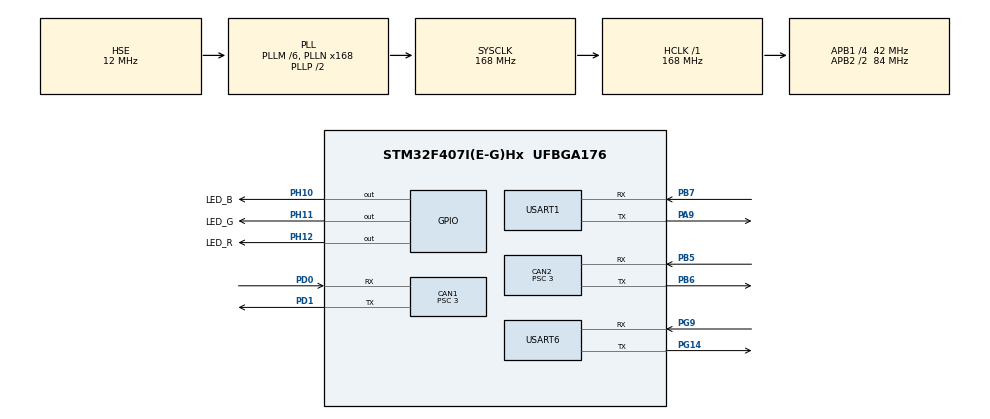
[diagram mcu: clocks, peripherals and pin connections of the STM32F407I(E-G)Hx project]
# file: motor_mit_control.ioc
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CAN1.BS1=CAN_BS1_10TQ
CAN1.BS2=CAN_BS2_3TQ
CAN1.CalculateBaudRate=1000000
CAN1.CalculateTimeBit=1000
CAN1.CalculateTimeQuantum=71.42857142857143
CAN1.Prescaler=3
CAN2.BS1=CAN_BS1_10TQ
CAN2.BS2=CAN_BS2_3TQ
CAN2.CalculateBaudRate=1000000
CAN2.CalculateTimeBit=1000
CAN2.CalculateTimeQuantum=71.42857142857143
CAN2.Prescaler=3
Dma.Request0=USART1_TX
Dma.Request1=USART6_RX
Dma.Request2=USART6_TX
Dma.USART1_TX.0.Direction=DMA_MEMORY_TO_PERIPH
Dma.USART1_TX.0.FIFOMode=DMA_FIFOMODE_DISABLE
Dma.USART1_TX.0.Instance=DMA2_Stream7
Dma.USART1_TX.0.MemDataAlignment=DMA_MDATAALIGN_BYTE
Dma.USART1_TX.0.MemInc=DMA_MINC_ENABLE
Dma.USART1_TX.0.Mode=DMA_NORMAL
Dma.USART1_TX.0.PeriphDataAlignment=DMA_PDATAALIGN_BYTE
Dma.USART1_TX.0.PeriphInc=DMA_PINC_DISABLE
Dma.USART1_TX.0.Priority=DMA_PRIORITY_MEDIUM
Dma.USART6_RX.1.Direction=DMA_PERIPH_TO_MEMORY
Dma.USART6_RX.1.FIFOMode=DMA_FIFOMODE_DISABLE
Dma.USART6_RX.1.Instance=DMA2_Stream1
Dma.USART6_RX.1.MemDataAlignment=DMA_MDATAALIGN_BYTE
Dma.USART6_RX.1.MemInc=DMA_MINC_ENABLE
Dma.USART6_RX.1.Mode=DMA_CIRCULAR
Dma.USART6_RX.1.PeriphDataAlignment=DMA_PDATAALIGN_BYTE
Dma.USART6_RX.1.PeriphInc=DMA_PINC_DISABLE
Dma.USART6_RX.1.Priority=DMA_PRIORITY_MEDIUM
Dma.USART6_TX.2.Direction=DMA_MEMORY_TO_PERIPH
Dma.USART6_TX.2.FIFOMode=DMA_FIFOMODE_DISABLE
Dma.USART6_TX.2.Instance=DMA2_Stream6
Dma.USART6_TX.2.MemDataAlignment=DMA_MDATAALIGN_BYTE
Dma.USART6_TX.2.MemInc=DMA_MINC_ENABLE
Dma.USART6_TX.2.Mode=DMA_CIRCULAR
Dma.USART6_TX.2.PeriphDataAlignment=DMA_PDATAALIGN_BYTE
Dma.USART6_TX.2.PeriphInc=DMA_PINC_DISABLE
Dma.USART6_TX.2.Priority=DMA_PRIORITY_MEDIUM
FREERTOS.Tasks01=defaultTask,0,128,StartDefaultTask,Default,NULL,Dynamic,NULL,NULL;led,-3,128,LED_TASK,As weak,NULL,Dynamic,NULL,NULL;debug_print,-3,128,DEBUG_PRINT_TASK,As weak,NULL,Dynamic,NULL,NULL;motor,-3,128,MOTOR_CONTROL_TASK,As weak,NULL,Dynamic,NULL,NULL
FREERTOS.configUSE_NEWLIB_REENTRANT=1
Mcu.Family=STM32F4
Mcu.Name=STM32F407I(E-G)Hx
Mcu.Package=UFBGA176
NVIC.CAN1_RX0_IRQn=true\:5\:0\:false\:false\:true\:true\:true\:true\:true
NVIC.CAN2_RX0_IRQn=true\:5\:0\:false\:false\:true\:true\:true\:true\:true
NVIC.DMA2_Stream1_IRQn=true\:5\:0\:false\:false\:true\:true\:false\:true\:true
NVIC.DMA2_Stream6_IRQn=true\:5\:0\:false\:false\:true\:true\:false\:true\:true
NVIC.DMA2_Stream7_IRQn=true\:5\:0\:false\:false\:true\:true\:false\:true\:true
NVIC.PriorityGroup=NVIC_PRIORITYGROUP_4
NVIC.TIM7_IRQn=true\:15\:0\:false\:false\:true\:false\:false\:true\:true
NVIC.TimeBase=TIM7_IRQn
NVIC.TimeBaseIP=TIM7
NVIC.USART1_IRQn=true\:5\:0\:false\:false\:true\:true\:true\:true\:true
NVIC.USART6_IRQn=true\:5\:0\:false\:false\:true\:true\:true\:true\:true
PA13.Mode=Serial_Wire
PA13.Signal=SYS_JTMS-SWDIO
PA14.Mode=Serial_Wire
PA14.Signal=SYS_JTCK-SWCLK
PA9.Mode=Asynchronous
PA9.Signal=USART1_TX
PB5.Mode=CAN_Activate
PB5.Signal=CAN2_RX
PB6.Mode=CAN_Activate
PB6.Signal=CAN2_TX
PB7.Mode=Asynchronous
PB7.Signal=USART1_RX
PD0.Mode=CAN_Activate
PD0.Signal=CAN1_RX
PD1.Mode=CAN_Activate
PD1.Signal=CAN1_TX
PG14.Mode=Asynchronous
PG14.Signal=USART6_TX
PG9.Mode=Asynchronous
PG9.Signal=USART6_RX
PH0-OSC_IN.Mode=HSE-External-Oscillator
PH0-OSC_IN.Signal=RCC_OSC_IN
PH1-OSC_OUT.Mode=HSE-External-Oscillator
PH1-OSC_OUT.Signal=RCC_OSC_OUT
PH10.GPIO_Label=LED_B
PH10.Signal=GPIO_Output
PH11.GPIO_Label=LED_G
PH11.Signal=GPIO_Output
PH12.GPIO_Label=LED_R
PH12.Signal=GPIO_Output
ProjectManager.HeapSize=0x200
ProjectManager.StackSize=0x400
ProjectManager.TargetToolchain=STM32CubeIDE
RCC.48MHZClocksFreq_Value=84000000
RCC.AHBFreq_Value=168000000
RCC.APB1CLKDivider=RCC_HCLK_DIV4
RCC.APB1Freq_Value=42000000
RCC.APB1TimFreq_Value=84000000
RCC.APB2CLKDivider=RCC_HCLK_DIV2
RCC.APB2Freq_Value=84000000
RCC.APB2TimFreq_Value=168000000
RCC.CortexFreq_Value=168000000
RCC.HCLKFreq_Value=168000000
RCC.HSE_VALUE=12000000
RCC.HSI_VALUE=16000000
RCC.LSE_VALUE=32768
RCC.PLLM=6
RCC.PLLN=168
RCC.PLLSourceVirtual=RCC_PLLSOURCE_HSE
RCC.SYSCLKFreq_VALUE=168000000
RCC.SYSCLKSource=RCC_SYSCLKSOURCE_PLLCLK
RCC.VCOOutputFreq_Value=336000000
USART1.VirtualMode=VM_ASYNC
USART6.VirtualMode=VM_ASYNC
VP_FREERTOS_VS_CMSIS_V1.Mode=CMSIS_V1
VP_SYS_VS_tim7.Mode=TIM7
board=custom

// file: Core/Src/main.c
/* USER CODE BEGIN Header */
/**
  ******************************************************************************
  * @file           : main.c
  * @brief          : Main program body
  ******************************************************************************
  * @attention
  *
  * Copyright (c) 2025 STMicroelectronics.
  * All rights reserved.
  *
  * This software is licensed under terms that can be found in the LICENSE file
  * in the root directory of this software component.
  * If no LICENSE file comes with this software, it is provided AS-IS.
  *
  ******************************************************************************
  */
/* USER CODE END Header */
#include <string.h>
#include "main.h"
#include "cmsis_os.h"
#include "can.h"
#include "dma.h"
#include "usart.h"
#include "gpio.h"

/* USER CODE BEGIN Includes */
#include "LED_TASK.h"
#include "DEBUG_PRINT_TASK.h"
#include "CAN_receive.h"
#include "stdbool.h"
#include "can_comm.h"
/* USER CODE END Includes */

void SystemClock_Config(void);
void MX_FREERTOS_Init(void);

int main(void)
{

  /* MCU Configuration--------------------------------------------------------*/

  /* Reset of all peripherals, Initializes the Flash interface and the Systick. */
  HAL_Init();

  /* Configure the system clock */
  SystemClock_Config();

  /* Initialize all configured peripherals */
  MX_GPIO_Init();
  MX_DMA_Init();
  MX_USART1_UART_Init();
  MX_CAN1_Init();
  MX_CAN2_Init();
  MX_USART6_UART_Init();
  /* USER CODE BEGIN 2 */
    memset(xiaomimotors, 0, sizeof(xiaomimotors));//清零
    xiaomimotors[0].can_id = 0x01 ;
    xiaomimotors[0].master_id = 0x11 ;
    xiaomimotors[1].can_id = 0x02 ;
    xiaomimotors[1].master_id = 0x12 ;
    xiaomimotors[2].can_id = 0x03 ;
    xiaomimotors[2].master_id = 0x13 ;
    xiaomimotors[3].can_id = 0x04 ;
    xiaomimotors[3].master_id = 0x14 ;
    xiaomimotors[4].can_id = 0x01 ;
    xiaomimotors[4].master_id = 0x11 ;
    xiaomimotors[5].can_id = 0x02 ;
    xiaomimotors[5].master_id = 0x12 ;
    xiaomimotors[6].can_id = 0x03 ;
    xiaomimotors[6].master_id = 0x13 ;
    xiaomimotors[7].can_id = 0x04 ;
    xiaomimotors[7].master_id = 0x14 ;

    xiaomimotors[0].can_channel = 0x01 ;
    xiaomimotors[1].can_channel = 0x01 ;
    xiaomimotors[2].can_channel = 0x01 ;
    xiaomimotors[3].can_channel = 0x01 ;
    xiaomimotors[4].can_channel = 0x02 ;
    xiaomimotors[5].can_channel = 0x02 ;
    xiaomimotors[6].can_channel = 0x02 ;
    xiaomimotors[7].can_channel = 0x02 ;

    xiaomimotors[0].alpha_speed = 0.1f ;
    xiaomimotors[1].alpha_speed = 0.1f ;
    xiaomimotors[2].alpha_speed = 0.1f ;
    xiaomimotors[3].alpha_speed = 0.1f ;
    xiaomimotors[4].alpha_speed = 0.1f ;
    xiaomimotors[5].alpha_speed = 0.1f ;
    xiaomimotors[6].alpha_speed = 0.1f ;
    xiaomimotors[7].alpha_speed = 0.1f ;

    CanComm_Init();

  /* USER CODE END 2 */

  /* Call init function for freertos objects (in cmsis_os2.c) */
  MX_FREERTOS_Init();

  /* Start scheduler */
  osKernelStart();

  /* We should never get here as control is now taken by the scheduler */

  /* Infinite loop */
  while (1)
  {

  }
}

void SystemClock_Config(void)
{
  RCC_OscInitTypeDef RCC_OscInitStruct = {0};
  RCC_ClkInitTypeDef RCC_ClkInitStruct = {0};

  /** Configure the main internal regulator output voltage
  */
  __HAL_RCC_PWR_CLK_ENABLE();
  __HAL_PWR_VOLTAGESCALING_CONFIG(PWR_REGULATOR_VOLTAGE_SCALE1);

  /** Initializes the RCC Oscillators according to the specified parameters
  * in the RCC_OscInitTypeDef structure.
  */
  RCC_OscInitStruct.OscillatorType = RCC_OSCILLATORTYPE_HSE;
  RCC_OscInitStruct.HSEState = RCC_HSE_ON;
  RCC_OscInitStruct.PLL.PLLState = RCC_PLL_ON;
  RCC_OscInitStruct.PLL.PLLSource = RCC_PLLSOURCE_HSE;
  RCC_OscInitStruct.PLL.PLLM = 6;
  RCC_OscInitStruct.PLL.PLLN = 168;
  RCC_OscInitStruct.PLL.PLLP = RCC_PLLP_DIV2;
  RCC_OscInitStruct.PLL.PLLQ = 4;
  if (HAL_RCC_OscConfig(&RCC_OscInitStruct) != HAL_OK)
  {
    Error_Handler();
  }

  /** Initializes the CPU, AHB and APB buses clocks
  */
  RCC_ClkInitStruct.ClockType = RCC_CLOCKTYPE_HCLK|RCC_CLOCKTYPE_SYSCLK
                              |RCC_CLOCKTYPE_PCLK1|RCC_CLOCKTYPE_PCLK2;
  RCC_ClkInitStruct.SYSCLKSource = RCC_SYSCLKSOURCE_PLLCLK;
  RCC_ClkInitStruct.AHBCLKDivider = RCC_SYSCLK_DIV1;
  RCC_ClkInitStruct.APB1CLKDivider = RCC_HCLK_DIV4;
  RCC_ClkInitStruct.APB2CLKDivider = RCC_HCLK_DIV2;

  if (HAL_RCC_ClockConfig(&RCC_ClkInitStruct, FLASH_LATENCY_5) != HAL_OK)
  {
    Error_Handler();
  }
}

void HAL_TIM_PeriodElapsedCallback(TIM_HandleTypeDef *htim)
{
  if (htim->Instance == TIM7) {
    HAL_IncTick();
  }
}

void Error_Handler(void)
{
  __disable_irq();
  while (1)
  {
  }
}

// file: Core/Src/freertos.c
/* USER CODE BEGIN Header */
/**
  ******************************************************************************
  * File Name          : freertos.c
  * Description        : Code for freertos applications
  ******************************************************************************
  * @attention
  *
  * Copyright (c) 2025 STMicroelectronics.
  * All rights reserved.
  *
  * This software is licensed under terms that can be found in the LICENSE file
  * in the root directory of this software component.
  * If no LICENSE file comes with this software, it is provided AS-IS.
  *
  ******************************************************************************
  */
/* USER CODE END Header */

#include "FreeRTOS.h"
#include "task.h"
#include "main.h"
#include "cmsis_os.h"

osThreadId defaultTaskHandle;
osThreadId ledHandle;
osThreadId debug_printHandle;
osThreadId motorHandle;

void StartDefaultTask(void const * argument);
void LED_TASK(void const * argument);
void DEBUG_PRINT_TASK(void const * argument);
void MOTOR_CONTROL_TASK(void const * argument);

void MX_FREERTOS_Init(void); /* (MISRA C 2004 rule 8.1) */

/* GetIdleTaskMemory prototype (linked to static allocation support) */
void vApplicationGetIdleTaskMemory( StaticTask_t **ppxIdleTaskTCBBuffer, StackType_t **ppxIdleTaskStackBuffer, uint32_t *pulIdleTaskStackSize );

/* USER CODE BEGIN GET_IDLE_TASK_MEMORY */
static StaticTask_t xIdleTaskTCBBuffer;
static StackType_t xIdleStack[configMINIMAL_STACK_SIZE];

void vApplicationGetIdleTaskMemory( StaticTask_t **ppxIdleTaskTCBBuffer, StackType_t **ppxIdleTaskStackBuffer, uint32_t *pulIdleTaskStackSize )
{
  *ppxIdleTaskTCBBuffer = &xIdleTaskTCBBuffer;
  *ppxIdleTaskStackBuffer = &xIdleStack[0];
  *pulIdleTaskStackSize = configMINIMAL_STACK_SIZE;
  /* place for user code */
}
/* USER CODE END GET_IDLE_TASK_MEMORY */

void MX_FREERTOS_Init(void) {

  /* Create the thread(s) */
  /* definition and creation of defaultTask */
  osThreadDef(defaultTask, StartDefaultTask, osPriorityNormal, 0, 128);
  defaultTaskHandle = osThreadCreate(osThread(defaultTask), NULL);

  /* definition and creation of led */
  osThreadDef(led, LED_TASK, osPriorityIdle, 0, 128);
  ledHandle = osThreadCreate(osThread(led), NULL);

  /* definition and creation of debug_print */
  osThreadDef(debug_print, DEBUG_PRINT_TASK, osPriorityIdle, 0, 128);
  debug_printHandle = osThreadCreate(osThread(debug_print), NULL);

  /* definition and creation of motor */
  osThreadDef(motor, MOTOR_CONTROL_TASK, osPriorityIdle, 0, 128);
  motorHandle = osThreadCreate(osThread(motor), NULL);

}

void StartDefaultTask(void const * argument)
{
  for(;;)
  {
    osDelay(1);
  }
}

__weak void LED_TASK(void const * argument)
{
  for(;;)
  {
    osDelay(1);
  }
}

__weak void DEBUG_PRINT_TASK(void const * argument)
{
  for(;;)
  {
    osDelay(1);
  }
}

__weak void MOTOR_CONTROL_TASK(void const * argument)
{
  for(;;)
  {
    osDelay(1);
  }
}
